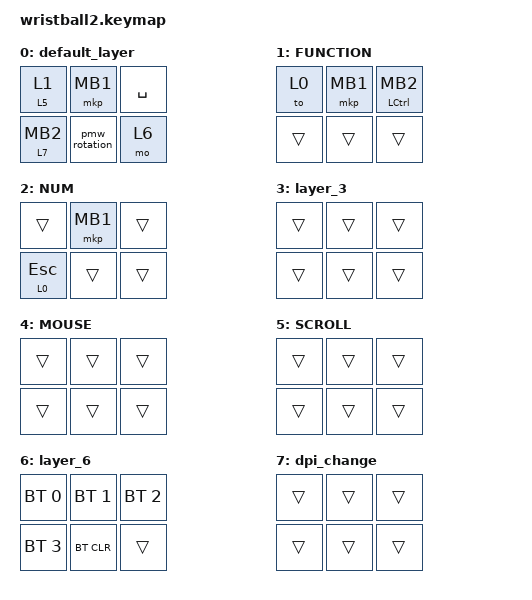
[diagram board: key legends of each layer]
#include <behaviors/rgbled_widget.dtsi>
#include <input/processors.dtsi>
#include <behaviors.dtsi>
#include <dt-bindings/zmk/bt.h>
#include <dt-bindings/zmk/keys.h>
#include <dt-bindings/zmk/pointing.h>

&mt {
    flavor = "balanced";
    quick-tap-ms = <0>;
};

&trackball {
    // automouse-layer = <1>;

    scroll-layers = <5>;

    // arrows {
    //     layers = <3>;
    //     bindings =
    //         <&kp RIGHT_ARROW>,
    //         <&kp LEFT_ARROW>,
    //         <&kp UP_ARROW>,
    //         <&kp DOWN_ARROW>;
    //     tick = <10>;
    //     wait-ms = <5>;
    //     tap-ms = <5>;
    // };
};

&trackball_listener {
    status = "okay";

    smaller_dpi {
        layers = <7>;
        input-processors = <&zip_xy_scaler 1 3>;
    };

    change_layer {
        layers = <0>;
        input-processors = <&zip_xy_scaler 4 3>, <&zip_temp_layer 4 5000>;
    };
};

/ {
    behaviors {
        pmw_rotation: pmw_rotation {
            compatible = "zmk,behavior-pmw-rotation";
            #binding-cells = <0>;
        };
    };

    combos {
        compatible = "zmk,combos";

        tab {
            bindings = <&kp TAB>;
            key-positions = <11 12>;
        };

        shift_tab {
            bindings = <&kp LS(TAB)>;
            key-positions = <12 13>;
        };

        muhennkann {
            bindings = <&to_layer_0 INT_MUHENKAN>;
            key-positions = <11 10>;
        };

        double_quotation {
            bindings = <&kp DOUBLE_QUOTES>;
            key-positions = <20 21>;
        };

        eq {
            bindings = <&kp EQUAL>;
            key-positions = <24 25>;
        };

        childa {
            bindings = <&kp GRAVE>;
            key-positions = <2 3>;
        };
    };

    macros {
        to_layer_0: to_layer_0 {
            compatible = "zmk,behavior-macro-one-param";
            #binding-cells = <1>;
            bindings = <&to 0 &macro_param_1to1 &kp MACRO_PLACEHOLDER>;
            label = "TO_LAYER_0";
        };
    };

    behaviors {
        lt_to_layer_0: lt_to_layer_0 {
            compatible = "zmk,behavior-hold-tap";
            label = "LAYER_TAP_TO_0";
            bindings = <&mo>, <&to_layer_0>;

            #binding-cells = <2>;
            tapping-term-ms = <200>;
        };

        mod_mkp1: mod_mkp1 {
            compatible = "zmk,behavior-hold-tap";
            label = "MOD_MKP1";
            bindings = <&kp>, <&mkp>;

            #binding-cells = <2>;
            tapping-term-ms = <170>;
        };

        mod_mo_mkp: mod_mo_mkp {
            compatible = "zmk,behavior-hold-tap";
            label = "MOD_MO_MKP";
            bindings = <&mo>, <&mkp>;

            #binding-cells = <2>;
            tapping-term-ms = <170>;
        };

        mod_mo_lo: mod_mo_lo {
            compatible = "zmk,behavior-hold-tap";
            label = "MOD_MO_LO";
            bindings = <&mo>, <&to>;

            #binding-cells = <2>;
            tapping-term-ms = <170>;
        };
    };

    keymap {
        compatible = "zmk,keymap";

        default_layer {
            bindings = <
&mod_mo_lo 5 1     &mkp MB1       &kp SPACE
&mod_mo_mkp 7 MB2  &pmw_rotation  &mo 6
            >;
        };

        FUNCTION {
            bindings = <
&to 0   &mkp MB1  &mod_mkp1 LCTRL MB2
&trans  &trans    &trans
            >;
        };

        NUM {
            bindings = <
&trans        &mkp MB1  &trans
&lt 0 ESCAPE  &trans    &trans
            >;
        };

        layer_3 {
            bindings = <
&trans  &trans  &trans
&trans  &trans  &trans
            >;
        };

        MOUSE {
            bindings = <
&trans  &trans  &trans
&trans  &trans  &trans
            >;
        };

        SCROLL {
            bindings = <
&trans  &trans  &trans
&trans  &trans  &trans
            >;
        };

        layer_6 {
            bindings = <
&bt BT_SEL 0  &bt BT_SEL 1  &bt BT_SEL 2
&bt BT_SEL 3  &bt BT_CLR    &trans
            >;
        };

        dpi_change {
            bindings = <
&trans  &trans  &trans
&trans  &trans  &trans
            >;
        };
    };
};
